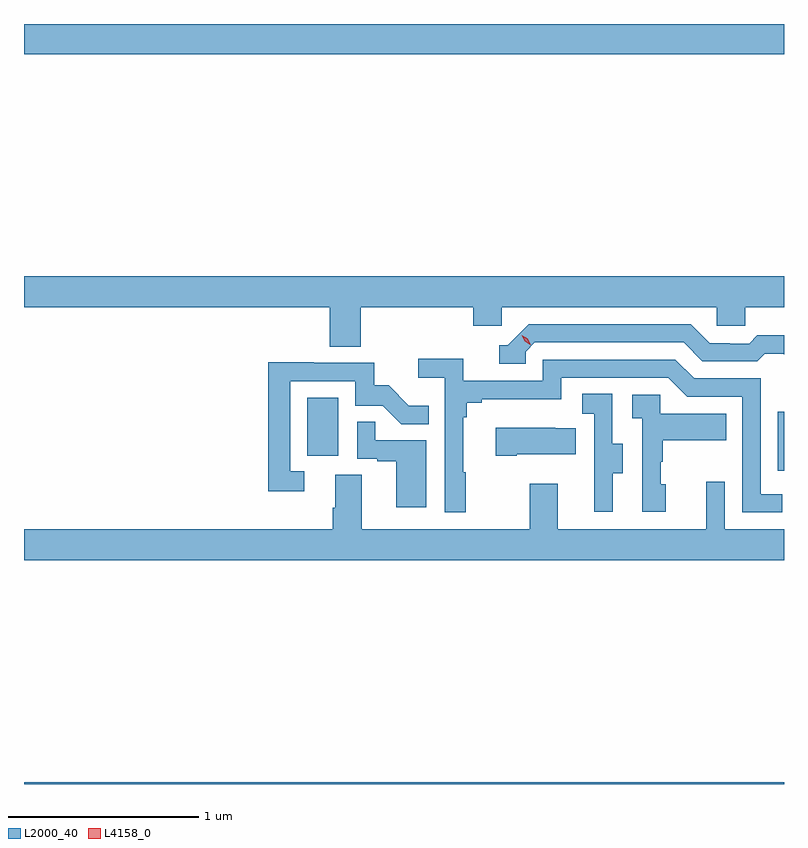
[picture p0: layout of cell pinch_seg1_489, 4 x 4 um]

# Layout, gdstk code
import gdstk
lib = gdstk.Library(unit=1e-6, precision=1e-09)
def R(c, l, rs):  # rectangles x0, y0, x1, y1
    for r in rs: c.add(gdstk.rectangle(r[:2], r[2:], *l))
def P(c, l, *ps):  # polygons
    for p in ps: c.add(gdstk.Polygon(p, *l))
L2000_40 = (2000, 40)
L4158_0 = (4158, 0)

pinch_seg1_489 = lib.new_cell('pinch_seg1_489')
R(pinch_seg1_489, L2000_40, [(1096.007,538.567,1100.007,538.576), (1099.974,540.216,1100.007,540.526), (1097.498,540.294,1097.662,540.601), (1096.007,542.408,1100.007,542.567)])
P(pinch_seg1_489, L2000_40, [(1097.78,541.076),(1098.371,541.076),(1098.371,540.978),(1098.522,540.978),(1098.522,541.076),(1099.653,541.076),(1099.653,540.978),(1099.803,540.978),(1099.803,541.076),(1100.007,541.076),(1100.007,541.24),(1096.007,541.24),(1096.007,541.076),(1097.615,541.076),(1097.615,540.868),(1097.78,540.868)],
  [(1098.648,540.843),(1098.696,540.891),(1099.479,540.891),(1099.578,540.792),(1099.867,540.792),(1099.906,540.831),(1100.005,540.831),(1100.005,540.828),(1100.007,540.828),(1100.007,540.928),(1099.867,540.928),(1099.825,540.885),(1099.722,540.885),(1099.722,540.888),(1099.615,540.888),(1099.516,540.987),(1098.663,540.987),(1098.552,540.876),(1098.509,540.876),(1098.509,540.78),(1098.648,540.78)],
  [(1098.331,540.209),(1098.319,540.209),(1098.319,540.497),(1098.338,540.497),(1098.338,540.574),(1098.415,540.574),(1098.415,540.593),(1098.834,540.593),(1098.834,540.705),(1099.398,540.705),(1099.497,540.606),(1099.788,540.606),(1099.788,539.997),(1099.997,539.997),(1099.997,540.093),(1099.884,540.093),(1099.884,540.702),(1099.534,540.702),(1099.435,540.801),(1098.738,540.801),(1098.738,540.69),(1098.32,540.69),(1098.32,540.806),(1098.081,540.806),(1098.081,540.704),(1098.222,540.704),(1098.222,539.997),(1098.331,539.997)],
  [(1097.482,540.213),(1097.409,540.213),(1097.409,540.687),(1097.751,540.687),(1097.751,540.558),(1097.895,540.558),(1097.993,540.46),(1098.137,540.46),(1098.137,540.559),(1098.033,540.559),(1097.926,540.666),(1097.85,540.666),(1097.85,540.783),(1097.531,540.783),(1097.531,540.788),(1097.293,540.788),(1097.293,540.108),(1097.482,540.108)],
  [(1099.105,540.202),(1099.159,540.202),(1099.159,540.357),(1099.104,540.357),(1099.104,540.62),(1098.945,540.62),(1098.945,540.517),(1099.008,540.517),(1099.008,540.213),(1099.007,540.213),(1099.007,540),(1099.105,540)],
  [(1099.384,540.144),(1099.359,540.144),(1099.359,540.263),(1099.369,540.263),(1099.369,540.377),(1099.703,540.377),(1099.703,540.517),(1099.356,540.517),(1099.356,540.615),(1099.209,540.615),(1099.209,540.491),(1099.26,540.491),(1099.26,540),(1099.384,540)],
  [(1098.124,540.375),(1097.855,540.375),(1097.855,540.473),(1097.76,540.473),(1097.76,540.279),(1097.867,540.279),(1097.867,540.267),(1097.966,540.267),(1097.966,540.024),(1098.124,540.024)],
  [(1098.601,540.302),(1098.911,540.302),(1098.911,540.439),(1098.803,540.439),(1098.803,540.442),(1098.489,540.442),(1098.489,540.295),(1098.601,540.295)],
  [(1100.007,539.908),(1099.695,539.908),(1099.695,540.157),(1099.598,540.157),(1099.598,539.908),(1098.817,539.908),(1098.817,540.148),(1098.67,540.148),(1098.67,539.908),(1097.785,539.908),(1097.785,540.194),(1097.645,540.194),(1097.645,540.02),(1097.633,540.02),(1097.633,539.908),(1096.007,539.908),(1096.007,539.744),(1100.007,539.744)])
P(pinch_seg1_489, L4158_0, [(1098.672,540.878),(1098.642,540.897),(1098.626,540.93),(1098.626,540.93),(1098.626,540.93),(1098.657,540.91),(1098.673,540.878),(1098.673,540.878)])

lib.write_gds('pinch_seg1_489.gds')
